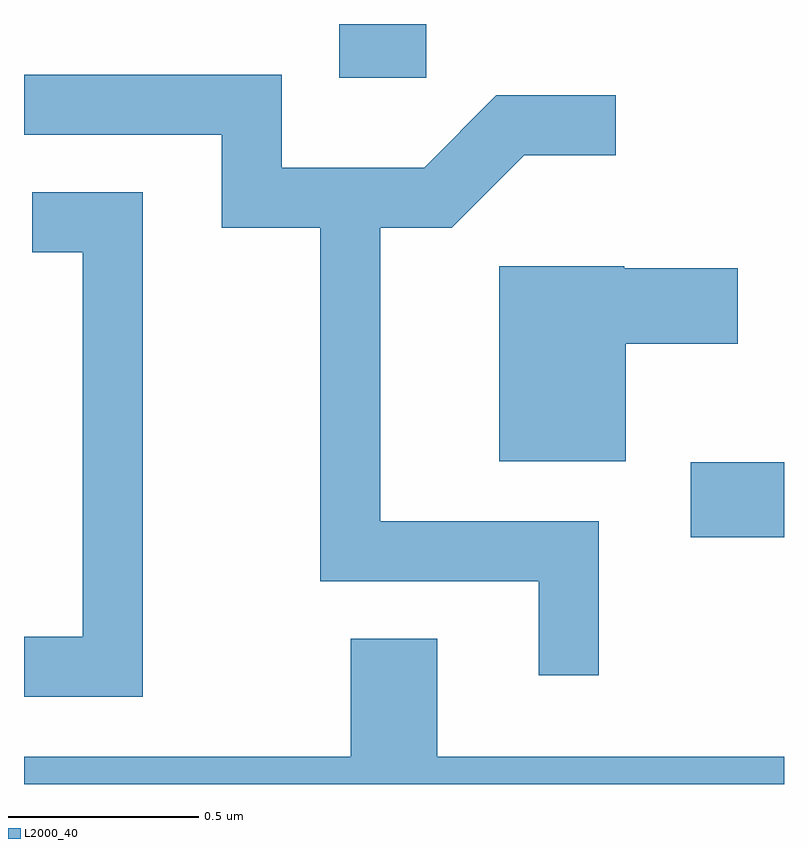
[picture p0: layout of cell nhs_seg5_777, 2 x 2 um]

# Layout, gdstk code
import gdstk
lib = gdstk.Library(unit=1e-6, precision=1e-09)
def R(c, l, rs):  # rectangles x0, y0, x1, y1
    for r in rs: c.add(gdstk.rectangle(r[:2], r[2:], *l))
def P(c, l, *ps):  # polygons
    for p in ps: c.add(gdstk.Polygon(p, *l))
L2000_40 = (2000, 40)

nhs_seg5_777 = lib.new_cell('nhs_seg5_777')
R(nhs_seg5_777, L2000_40, [(192.366,1488.721,192.611,1488.919), (191.441,1489.931,191.669,1490.072)])
P(nhs_seg5_777, L2000_40, [(192.124,1488.764),(191.549,1488.764),(191.549,1489.536),(191.737,1489.536),(191.927,1489.726),(192.168,1489.726),(192.168,1489.884),(191.854,1489.884),(191.664,1489.694),(191.289,1489.694),(191.289,1489.939),(190.611,1489.939),(190.611,1489.781),(191.131,1489.781),(191.131,1489.536),(191.391,1489.536),(191.391,1488.606),(191.966,1488.606),(191.966,1488.358),(192.124,1488.358)],
  [(190.924,1489.629),(190.633,1489.629),(190.633,1489.471),(190.766,1489.471),(190.766,1488.459),(190.611,1488.459),(190.611,1488.301),(190.924,1488.301)],
  [(192.194,1489.231),(192.489,1489.231),(192.489,1489.429),(192.19,1489.429),(192.19,1489.434),(191.861,1489.434),(191.861,1488.921),(192.194,1488.921)],
  [(192.611,1488.144),(191.699,1488.144),(191.699,1488.454),(191.471,1488.454),(191.471,1488.144),(190.611,1488.144),(190.611,1488.072),(192.611,1488.072)])

lib.write_gds('nhs_seg5_777.gds')
